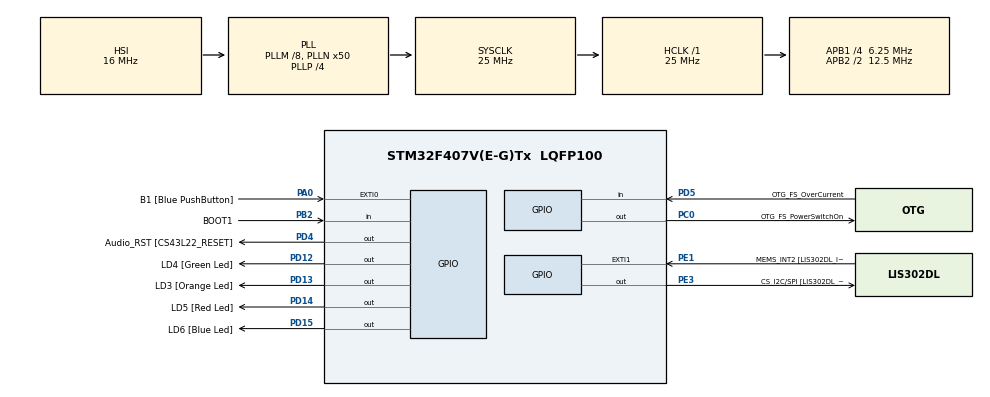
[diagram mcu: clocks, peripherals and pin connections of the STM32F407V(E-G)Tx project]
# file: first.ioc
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Mcu.Family=STM32F4
Mcu.Name=STM32F407V(E-G)Tx
Mcu.Package=LQFP100
NVIC.PriorityGroup=NVIC_PRIORITYGROUP_4
NVIC.TIM6_DAC_IRQn=true\:15\:0\:false\:false\:true\:false\:true\:true
NVIC.TimeBase=TIM6_DAC_IRQn
NVIC.TimeBaseIP=TIM6
PA0-WKUP.GPIO_Label=B1 [Blue PushButton]
PA0-WKUP.Signal=GPXTI0
PA10.GPIO_Label=OTG_FS_ID
PA10.GPIO_Mode=GPIO_MODE_AF_PP
PA10.GPIO_PuPd=GPIO_NOPULL
PA10.GPIO_Speed=GPIO_SPEED_FREQ_LOW
PA10.Signal=USB_OTG_FS_ID
PA11.GPIO_Label=OTG_FS_DM
PA11.GPIO_Mode=GPIO_MODE_AF_PP
PA11.GPIO_PuPd=GPIO_NOPULL
PA11.GPIO_Speed=GPIO_SPEED_FREQ_LOW
PA11.Signal=USB_OTG_FS_DM
PA12.GPIO_Label=OTG_FS_DP
PA12.GPIO_Mode=GPIO_MODE_AF_PP
PA12.GPIO_PuPd=GPIO_NOPULL
PA12.GPIO_Speed=GPIO_SPEED_FREQ_LOW
PA12.Signal=USB_OTG_FS_DP
PA13.GPIO_Label=SWDIO
PA13.Mode=Serial_Wire
PA13.Signal=SYS_JTMS-SWDIO
PA14.GPIO_Label=SWCLK
PA14.Mode=Serial_Wire
PA14.Signal=SYS_JTCK-SWCLK
PA4.GPIO_Label=I2S3_WS [CS43L22_LRCK]
PA4.GPIO_Mode=GPIO_MODE_AF_PP
PA4.GPIO_PuPd=GPIO_NOPULL
PA4.GPIO_Speed=GPIO_SPEED_FREQ_LOW
PA4.Signal=I2S3_WS
PA5.GPIO_Label=SPI1_SCK [LIS302DL_SCL/SPC]
PA5.GPIO_Mode=GPIO_MODE_AF_PP
PA5.GPIO_PuPd=GPIO_NOPULL
PA5.GPIO_Speed=GPIO_SPEED_FREQ_LOW
PA5.Signal=SPI1_SCK
PA6.GPIO_Label=SPI1_MISO [LIS302DL_SDO]
PA6.GPIO_Mode=GPIO_MODE_AF_PP
PA6.GPIO_PuPd=GPIO_NOPULL
PA6.GPIO_Speed=GPIO_SPEED_FREQ_LOW
PA6.Signal=SPI1_MISO
PA7.GPIO_Label=SPI1_MOSI [LIS302DL_SDA/SDI/SDO]
PA7.GPIO_Mode=GPIO_MODE_AF_PP
PA7.GPIO_PuPd=GPIO_NOPULL
PA7.GPIO_Speed=GPIO_SPEED_FREQ_LOW
PA7.Signal=SPI1_MOSI
PA9.GPIO_Label=VBUS_FS
PA9.GPIO_Mode=GPIO_MODE_INPUT
PA9.GPIO_PuPd=GPIO_NOPULL
PA9.Signal=USB_OTG_FS_VBUS
PB10.GPIO_Label=CLK_IN [MP45DT02_CLK]
PB10.GPIO_Mode=GPIO_MODE_AF_PP
PB10.GPIO_PuPd=GPIO_NOPULL
PB10.GPIO_Speed=GPIO_SPEED_FREQ_LOW
PB10.Signal=I2S2_CK
PB2.GPIO_Label=BOOT1
PB2.GPIO_Mode=GPIO_MODE_INPUT
PB2.GPIO_PuPd=GPIO_NOPULL
PB2.Signal=GPIO_Input
PB3.GPIO_Label=SWO
PB3.Signal=SYS_JTDO-SWO
PB6.GPIO_Label=Audio_SCL [CS43L22_SCL]
PB6.GPIO_Mode=GPIO_MODE_AF_OD
PB6.GPIO_PuPd=GPIO_NOPULL
PB6.GPIO_Speed=GPIO_SPEED_FREQ_LOW
PB6.Signal=I2C1_SCL
PB9.GPIO_Label=Audio_SDA [CS43L22_SDA]
PB9.GPIO_Mode=GPIO_MODE_AF_OD
PB9.GPIO_PuPd=GPIO_NOPULL
PB9.GPIO_Speed=GPIO_SPEED_FREQ_LOW
PB9.Signal=I2C1_SDA
PC0.GPIO_Label=OTG_FS_PowerSwitchOn
PC0.GPIO_PuPd=GPIO_NOPULL
PC0.GPIO_Speed=GPIO_SPEED_FREQ_LOW
PC0.PinState=GPIO_PIN_SET
PC0.Signal=GPIO_Output
PC10.GPIO_Label=I2S3_SCK [CS43L22_SCLK]
PC10.GPIO_Mode=GPIO_MODE_AF_PP
PC10.GPIO_PuPd=GPIO_NOPULL
PC10.GPIO_Speed=GPIO_SPEED_FREQ_LOW
PC10.Signal=I2S3_CK
PC12.GPIO_Label=I2S3_SD [CS43L22_SDIN]
PC12.GPIO_Mode=GPIO_MODE_AF_PP
PC12.GPIO_PuPd=GPIO_NOPULL
PC12.GPIO_Speed=GPIO_SPEED_FREQ_LOW
PC12.Signal=I2S3_SD
PC14-OSC32_IN.GPIO_Label=PC14-OSC32_IN
PC14-OSC32_IN.Signal=RCC_OSC32_IN
PC15-OSC32_OUT.GPIO_Label=PC15-OSC32_OUT
PC15-OSC32_OUT.Signal=RCC_OSC32_OUT
PC3.GPIO_Label=PDM_OUT [MP45DT02_DOUT]
PC3.GPIO_Mode=GPIO_MODE_AF_PP
PC3.GPIO_PuPd=GPIO_NOPULL
PC3.GPIO_Speed=GPIO_SPEED_FREQ_LOW
PC3.Signal=I2S2_SD
PC7.GPIO_Label=I2S3_MCK [CS43L22_MCLK]
PC7.GPIO_Mode=GPIO_MODE_AF_PP
PC7.GPIO_PuPd=GPIO_NOPULL
PC7.GPIO_Speed=GPIO_SPEED_FREQ_LOW
PC7.Signal=I2S3_MCK
PD12.GPIO_Label=LD4 [Green Led]
PD12.GPIO_PuPd=GPIO_NOPULL
PD12.GPIO_Speed=GPIO_SPEED_FREQ_LOW
PD12.Signal=GPIO_Output
PD13.GPIO_Label=LD3 [Orange Led]
PD13.GPIO_PuPd=GPIO_NOPULL
PD13.GPIO_Speed=GPIO_SPEED_FREQ_LOW
PD13.Signal=GPIO_Output
PD14.GPIO_Label=LD5 [Red Led]
PD14.GPIO_PuPd=GPIO_NOPULL
PD14.GPIO_Speed=GPIO_SPEED_FREQ_LOW
PD14.Signal=GPIO_Output
PD15.GPIO_Label=LD6 [Blue Led]
PD15.GPIO_PuPd=GPIO_NOPULL
PD15.GPIO_Speed=GPIO_SPEED_FREQ_LOW
PD15.Signal=GPIO_Output
PD4.GPIO_Label=Audio_RST [CS43L22_RESET]
PD4.GPIO_PuPd=GPIO_NOPULL
PD4.GPIO_Speed=GPIO_SPEED_FREQ_LOW
PD4.Signal=GPIO_Output
PD5.GPIO_Label=OTG_FS_OverCurrent
PD5.GPIO_Mode=GPIO_MODE_INPUT
PD5.GPIO_PuPd=GPIO_NOPULL
PD5.Signal=GPIO_Input
PE1.GPIO_Label=MEMS_INT2 [LIS302DL_INT2]
PE1.GPIO_ModeDefaultEXTI=GPIO_MODE_EVT_RISING
PE1.GPIO_PuPd=GPIO_NOPULL
PE1.Signal=GPXTI1
PE3.GPIO_Label=CS_I2C/SPI [LIS302DL_CS_I2C/SPI]
PE3.GPIO_PuPd=GPIO_NOPULL
PE3.GPIO_Speed=GPIO_SPEED_FREQ_LOW
PE3.Signal=GPIO_Output
PH0-OSC_IN.GPIO_Label=PH0-OSC_IN
PH0-OSC_IN.Signal=RCC_OSC_IN
PH1-OSC_OUT.GPIO_Label=PH1-OSC_OUT
PH1-OSC_OUT.Signal=RCC_OSC_OUT
ProjectManager.HeapSize=0x200
ProjectManager.StackSize=0x400
ProjectManager.TargetToolchain=STM32CubeIDE
RCC.48MHZClocksFreq_Value=14285714.285714285
RCC.AHBFreq_Value=25000000
RCC.APB1CLKDivider=RCC_HCLK_DIV4
RCC.APB1Freq_Value=6250000
RCC.APB1TimFreq_Value=12500000
RCC.APB2CLKDivider=RCC_HCLK_DIV2
RCC.APB2Freq_Value=12500000
RCC.APB2TimFreq_Value=25000000
RCC.CortexFreq_Value=25000000
RCC.HCLKFreq_Value=25000000
RCC.HSE_VALUE=8000000
RCC.HSI_VALUE=16000000
RCC.LSE_VALUE=32768
RCC.PLLM=8
RCC.PLLN=50
RCC.PLLP=RCC_PLLP_DIV4
RCC.PLLQ=7
RCC.SYSCLKFreq_VALUE=25000000
RCC.SYSCLKSource=RCC_SYSCLKSOURCE_PLLCLK
RCC.VCOOutputFreq_Value=100000000
VP_SYS_VS_tim6.Mode=TIM6
board=STM32F407G-DISC1

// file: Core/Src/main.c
/* USER CODE BEGIN Header */
/**
  ******************************************************************************
  * @file           : main.c
  * @brief          : Main program body
  ******************************************************************************
  * @attention
  *
  * Copyright (c) 2025 STMicroelectronics.
  * All rights reserved.
  *
  * This software is licensed under terms that can be found in the LICENSE file
  * in the root directory of this software component.
  * If no LICENSE file comes with this software, it is provided AS-IS.
  *
  ******************************************************************************
  */
/* USER CODE END Header */
#include "main.h"

/* USER CODE BEGIN Includes */
#include<stdio.h>
#include"FreeRTOS.h"
#include"task.h"
/* USER CODE END Includes */

/* USER CODE BEGIN PM */
#define DWT_CTRL (*(volatile uint32_t*)0xE0001000)
/* USER CODE END PM */

void SystemClock_Config(void);
static void MX_GPIO_Init(void);
/* USER CODE BEGIN PFP */
static void taskhandler1(void* parameters);
static void taskhandler2(void* parameters);

/* USER CODE END PFP */

int main(void)
{

  /* USER CODE BEGIN 1 */

	BaseType_t status;
	    TaskHandle_t taskhandle1 ;
	    TaskHandle_t taskhandle2 ;

  /* USER CODE END 1 */

  /* MCU Configuration--------------------------------------------------------*/

  /* Reset of all peripherals, Initializes the Flash interface and the Systick. */
  HAL_Init();

  /* Configure the system clock */
  SystemClock_Config();

  /* Initialize all configured peripherals */
  MX_GPIO_Init();
  /* USER CODE BEGIN 2 */
  //enable cyccnt register
  DWT_CTRL |=(0<<1);
  SEGGER_SYSVIEW_Conf();
  SEGGER_SYSVIEW_Start();
  status = xTaskCreate(  taskhandler1,
                        "task1",
                          200,
                         "hello world from task 1",
                           2,
                          &taskhandle1
                        );
  configASSERT(status==pdPASS);

  status = xTaskCreate(  taskhandler2,
                         "task1",
                           200,
                          "hello world from task 1",
                            2,
                           &taskhandle2
                         );
  configASSERT(status==pdPASS);
  vTaskStartScheduler();

  /* USER CODE END 2 */

  /* Infinite loop */
  while (1)
  {

  }
}

void SystemClock_Config(void)
{
  RCC_OscInitTypeDef RCC_OscInitStruct = {0};
  RCC_ClkInitTypeDef RCC_ClkInitStruct = {0};

  /** Configure the main internal regulator output voltage
  */
  __HAL_RCC_PWR_CLK_ENABLE();
  __HAL_PWR_VOLTAGESCALING_CONFIG(PWR_REGULATOR_VOLTAGE_SCALE1);

  /** Initializes the RCC Oscillators according to the specified parameters
  * in the RCC_OscInitTypeDef structure.
  */
  RCC_OscInitStruct.OscillatorType = RCC_OSCILLATORTYPE_HSI;
  RCC_OscInitStruct.HSIState = RCC_HSI_ON;
  RCC_OscInitStruct.HSICalibrationValue = RCC_HSICALIBRATION_DEFAULT;
  RCC_OscInitStruct.PLL.PLLState = RCC_PLL_ON;
  RCC_OscInitStruct.PLL.PLLSource = RCC_PLLSOURCE_HSI;
  RCC_OscInitStruct.PLL.PLLM = 8;
  RCC_OscInitStruct.PLL.PLLN = 50;
  RCC_OscInitStruct.PLL.PLLP = RCC_PLLP_DIV4;
  RCC_OscInitStruct.PLL.PLLQ = 7;
  if (HAL_RCC_OscConfig(&RCC_OscInitStruct) != HAL_OK)
  {
    Error_Handler();
  }

  /** Initializes the CPU, AHB and APB buses clocks
  */
  RCC_ClkInitStruct.ClockType = RCC_CLOCKTYPE_HCLK|RCC_CLOCKTYPE_SYSCLK
                              |RCC_CLOCKTYPE_PCLK1|RCC_CLOCKTYPE_PCLK2;
  RCC_ClkInitStruct.SYSCLKSource = RCC_SYSCLKSOURCE_PLLCLK;
  RCC_ClkInitStruct.AHBCLKDivider = RCC_SYSCLK_DIV1;
  RCC_ClkInitStruct.APB1CLKDivider = RCC_HCLK_DIV4;
  RCC_ClkInitStruct.APB2CLKDivider = RCC_HCLK_DIV2;

  if (HAL_RCC_ClockConfig(&RCC_ClkInitStruct, FLASH_LATENCY_0) != HAL_OK)
  {
    Error_Handler();
  }
}

static void MX_GPIO_Init(void)
{
  GPIO_InitTypeDef GPIO_InitStruct = {0};

  /* GPIO Ports Clock Enable */
  __HAL_RCC_GPIOE_CLK_ENABLE();
  __HAL_RCC_GPIOC_CLK_ENABLE();
  __HAL_RCC_GPIOH_CLK_ENABLE();
  __HAL_RCC_GPIOA_CLK_ENABLE();
  __HAL_RCC_GPIOB_CLK_ENABLE();
  __HAL_RCC_GPIOD_CLK_ENABLE();

  /*Configure GPIO pin Output Level */
  HAL_GPIO_WritePin(CS_I2C_SPI_GPIO_Port, CS_I2C_SPI_Pin, GPIO_PIN_RESET);

  /*Configure GPIO pin Output Level */
  HAL_GPIO_WritePin(OTG_FS_PowerSwitchOn_GPIO_Port, OTG_FS_PowerSwitchOn_Pin, GPIO_PIN_SET);

  /*Configure GPIO pin Output Level */
  HAL_GPIO_WritePin(GPIOD, LD4_Pin|LD3_Pin|LD5_Pin|LD6_Pin
                          |Audio_RST_Pin, GPIO_PIN_RESET);

  /*Configure GPIO pin : CS_I2C_SPI_Pin */
  GPIO_InitStruct.Pin = CS_I2C_SPI_Pin;
  GPIO_InitStruct.Mode = GPIO_MODE_OUTPUT_PP;
  GPIO_InitStruct.Pull = GPIO_NOPULL;
  GPIO_InitStruct.Speed = GPIO_SPEED_FREQ_LOW;
  HAL_GPIO_Init(CS_I2C_SPI_GPIO_Port, &GPIO_InitStruct);

  /*Configure GPIO pin : OTG_FS_PowerSwitchOn_Pin */
  GPIO_InitStruct.Pin = OTG_FS_PowerSwitchOn_Pin;
  GPIO_InitStruct.Mode = GPIO_MODE_OUTPUT_PP;
  GPIO_InitStruct.Pull = GPIO_NOPULL;
  GPIO_InitStruct.Speed = GPIO_SPEED_FREQ_LOW;
  HAL_GPIO_Init(OTG_FS_PowerSwitchOn_GPIO_Port, &GPIO_InitStruct);

  /*Configure GPIO pin : PDM_OUT_Pin */
  GPIO_InitStruct.Pin = PDM_OUT_Pin;
  GPIO_InitStruct.Mode = GPIO_MODE_AF_PP;
  GPIO_InitStruct.Pull = GPIO_NOPULL;
  GPIO_InitStruct.Speed = GPIO_SPEED_FREQ_LOW;
  GPIO_InitStruct.Alternate = GPIO_AF5_SPI2;
  HAL_GPIO_Init(PDM_OUT_GPIO_Port, &GPIO_InitStruct);

  /*Configure GPIO pin : B1_Pin */
  GPIO_InitStruct.Pin = B1_Pin;
  GPIO_InitStruct.Mode = GPIO_MODE_IT_RISING;
  GPIO_InitStruct.Pull = GPIO_NOPULL;
  HAL_GPIO_Init(B1_GPIO_Port, &GPIO_InitStruct);

  /*Configure GPIO pin : I2S3_WS_Pin */
  GPIO_InitStruct.Pin = I2S3_WS_Pin;
  GPIO_InitStruct.Mode = GPIO_MODE_AF_PP;
  GPIO_InitStruct.Pull = GPIO_NOPULL;
  GPIO_InitStruct.Speed = GPIO_SPEED_FREQ_LOW;
  GPIO_InitStruct.Alternate = GPIO_AF6_SPI3;
  HAL_GPIO_Init(I2S3_WS_GPIO_Port, &GPIO_InitStruct);

  /*Configure GPIO pins : SPI1_SCK_Pin SPI1_MISO_Pin SPI1_MOSI_Pin */
  GPIO_InitStruct.Pin = SPI1_SCK_Pin|SPI1_MISO_Pin|SPI1_MOSI_Pin;
  GPIO_InitStruct.Mode = GPIO_MODE_AF_PP;
  GPIO_InitStruct.Pull = GPIO_NOPULL;
  GPIO_InitStruct.Speed = GPIO_SPEED_FREQ_LOW;
  GPIO_InitStruct.Alternate = GPIO_AF5_SPI1;
  HAL_GPIO_Init(GPIOA, &GPIO_InitStruct);

  /*Configure GPIO pin : BOOT1_Pin */
  GPIO_InitStruct.Pin = BOOT1_Pin;
  GPIO_InitStruct.Mode = GPIO_MODE_INPUT;
  GPIO_InitStruct.Pull = GPIO_NOPULL;
  HAL_GPIO_Init(BOOT1_GPIO_Port, &GPIO_InitStruct);

  /*Configure GPIO pin : CLK_IN_Pin */
  GPIO_InitStruct.Pin = CLK_IN_Pin;
  GPIO_InitStruct.Mode = GPIO_MODE_AF_PP;
  GPIO_InitStruct.Pull = GPIO_NOPULL;
  GPIO_InitStruct.Speed = GPIO_SPEED_FREQ_LOW;
  GPIO_InitStruct.Alternate = GPIO_AF5_SPI2;
  HAL_GPIO_Init(CLK_IN_GPIO_Port, &GPIO_InitStruct);

  /*Configure GPIO pins : LD4_Pin LD3_Pin LD5_Pin LD6_Pin
                           Audio_RST_Pin */
  GPIO_InitStruct.Pin = LD4_Pin|LD3_Pin|LD5_Pin|LD6_Pin
                          |Audio_RST_Pin;
  GPIO_InitStruct.Mode = GPIO_MODE_OUTPUT_PP;
  GPIO_InitStruct.Pull = GPIO_NOPULL;
  GPIO_InitStruct.Speed = GPIO_SPEED_FREQ_LOW;
  HAL_GPIO_Init(GPIOD, &GPIO_InitStruct);

  /*Configure GPIO pins : I2S3_MCK_Pin I2S3_SCK_Pin I2S3_SD_Pin */
  GPIO_InitStruct.Pin = I2S3_MCK_Pin|I2S3_SCK_Pin|I2S3_SD_Pin;
  GPIO_InitStruct.Mode = GPIO_MODE_AF_PP;
  GPIO_InitStruct.Pull = GPIO_NOPULL;
  GPIO_InitStruct.Speed = GPIO_SPEED_FREQ_LOW;
  GPIO_InitStruct.Alternate = GPIO_AF6_SPI3;
  HAL_GPIO_Init(GPIOC, &GPIO_InitStruct);

  /*Configure GPIO pin : VBUS_FS_Pin */
  GPIO_InitStruct.Pin = VBUS_FS_Pin;
  GPIO_InitStruct.Mode = GPIO_MODE_INPUT;
  GPIO_InitStruct.Pull = GPIO_NOPULL;
  HAL_GPIO_Init(VBUS_FS_GPIO_Port, &GPIO_InitStruct);

  /*Configure GPIO pins : OTG_FS_ID_Pin OTG_FS_DM_Pin OTG_FS_DP_Pin */
  GPIO_InitStruct.Pin = OTG_FS_ID_Pin|OTG_FS_DM_Pin|OTG_FS_DP_Pin;
  GPIO_InitStruct.Mode = GPIO_MODE_AF_PP;
  GPIO_InitStruct.Pull = GPIO_NOPULL;
  GPIO_InitStruct.Speed = GPIO_SPEED_FREQ_LOW;
  GPIO_InitStruct.Alternate = GPIO_AF10_OTG_FS;
  HAL_GPIO_Init(GPIOA, &GPIO_InitStruct);

  /*Configure GPIO pin : OTG_FS_OverCurrent_Pin */
  GPIO_InitStruct.Pin = OTG_FS_OverCurrent_Pin;
  GPIO_InitStruct.Mode = GPIO_MODE_INPUT;
  GPIO_InitStruct.Pull = GPIO_NOPULL;
  HAL_GPIO_Init(OTG_FS_OverCurrent_GPIO_Port, &GPIO_InitStruct);

  /*Configure GPIO pins : Audio_SCL_Pin Audio_SDA_Pin */
  GPIO_InitStruct.Pin = Audio_SCL_Pin|Audio_SDA_Pin;
  GPIO_InitStruct.Mode = GPIO_MODE_AF_OD;
  GPIO_InitStruct.Pull = GPIO_NOPULL;
  GPIO_InitStruct.Speed = GPIO_SPEED_FREQ_LOW;
  GPIO_InitStruct.Alternate = GPIO_AF4_I2C1;
  HAL_GPIO_Init(GPIOB, &GPIO_InitStruct);

  /*Configure GPIO pin : MEMS_INT2_Pin */
  GPIO_InitStruct.Pin = MEMS_INT2_Pin;
  GPIO_InitStruct.Mode = GPIO_MODE_EVT_RISING;
  GPIO_InitStruct.Pull = GPIO_NOPULL;
  HAL_GPIO_Init(MEMS_INT2_GPIO_Port, &GPIO_InitStruct);

}

/* USER CODE BEGIN 4 */
static void taskhandler1(void* parameters){
	while(1){
		printf("%s \n",(char*)parameters);
		SEGGER_SYSVIEW_PrintfTarget("lawda lele from task1");
	}

}
static void taskhandler2(void* parameters){
	while(1){
		printf("%s \n",(char*)parameters);
		SEGGER_SYSVIEW_PrintfTarget("lawda lele from task2");
	}

}

/* USER CODE END 4 */

void HAL_TIM_PeriodElapsedCallback(TIM_HandleTypeDef *htim)
{
  if (htim->Instance == TIM6) {
    HAL_IncTick();
  }
}

void Error_Handler(void)
{
  __disable_irq();
  while (1)
  {
  }
}
